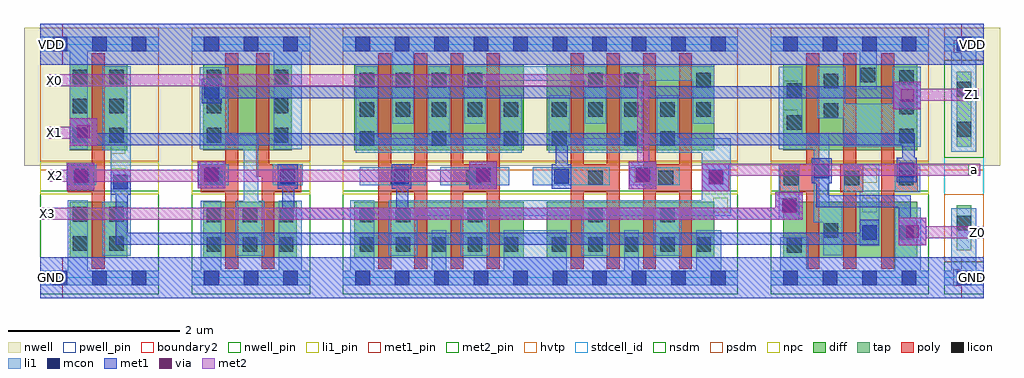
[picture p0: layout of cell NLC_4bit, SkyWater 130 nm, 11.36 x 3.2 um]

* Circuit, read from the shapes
.subckt NLC_4bit GND VDD X0 X1 X2 X3 Z0 Z1 a
XM1 sky130_fd_sc_hd__a21oi_1_1/A1 X2 GND GND sky130_fd_pr__nfet_01v8 w=0.65 l=0.15
XM2 Z1 X2 GND GND sky130_fd_pr__nfet_01v8 w=0.65 l=0.15
XM3 GND X3 Z1 GND sky130_fd_pr__nfet_01v8 w=0.65 l=0.15
XM4 a X3 GND GND sky130_fd_pr__nfet_01v8 w=0.65 l=0.15 m=2
XM5 a X2 GND GND sky130_fd_pr__nfet_01v8 w=0.65 l=0.15 m=2
XM6 a X1 GND GND sky130_fd_pr__nfet_01v8 w=0.65 l=0.15 m=2
XM7 a X0 GND GND sky130_fd_pr__nfet_01v8 w=0.65 l=0.15 m=2
XM8 Z0 X3 GND GND sky130_fd_pr__nfet_01v8 w=0.65 l=0.15
XM9 n1 sky130_fd_sc_hd__a21oi_1_1/A1 Z0 GND sky130_fd_pr__nfet_01v8 w=0.65 l=0.15
XM10 GND X1 n1 GND sky130_fd_pr__nfet_01v8 w=0.65 l=0.15
XM11 sky130_fd_sc_hd__a21oi_1_1/A1 X2 VDD VDD sky130_fd_pr__pfet_01v8_hvt w=1 l=0.15
XM12 n2 X2 Z1 VDD sky130_fd_pr__pfet_01v8_hvt w=1 l=0.15
XM13 VDD X3 n2 VDD sky130_fd_pr__pfet_01v8_hvt w=1 l=0.15
XM14 VDD X3 n3 VDD sky130_fd_pr__pfet_01v8_hvt w=1 l=0.15 m=2
XM15 n4 X2 n3 VDD sky130_fd_pr__pfet_01v8_hvt w=1 l=0.15 m=2
XM16 n4 X1 n5 VDD sky130_fd_pr__pfet_01v8_hvt w=1 l=0.15 m=2
XM17 a X0 n5 VDD sky130_fd_pr__pfet_01v8_hvt w=1 l=0.15 m=2
XM18 n6 X3 Z0 VDD sky130_fd_pr__pfet_01v8_hvt w=1 l=0.15
XM19 VDD sky130_fd_sc_hd__a21oi_1_1/A1 n6 VDD sky130_fd_pr__pfet_01v8_hvt w=1 l=0.15
XM20 n6 X1 VDD VDD sky130_fd_pr__pfet_01v8_hvt w=1 l=0.15
.ends

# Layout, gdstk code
import gdstk
lib = gdstk.Library(unit=1e-6, precision=1e-09)
def R(c, l, rs):  # rectangles x0, y0, x1, y1
    for r in rs: c.add(gdstk.rectangle(r[:2], r[2:], *l))
def A(c, l, x, y, w, h, nx, ny, dx, dy):  # array of equal rectangles
    R(c, l, [(x+i*dx, y+j*dy, x+i*dx+w, y+j*dy+h) for i in range(nx) for j in range(ny)])
def P(c, l, *ps):  # polygons
    for p in ps: c.add(gdstk.Polygon(p, *l))
nwell_pin = (64, 16)
nwell = (64, 20)
diff = (65, 20)
tap = (65, 44)
poly = (66, 20)
licon = (66, 44)
li1_pin = (67, 16)
li1 = (67, 20)
mcon = (67, 44)
met1_pin = (68, 16)
met1 = (68, 20)
via = (68, 44)
met2_pin = (69, 16)
met2 = (69, 20)
hvtp = (78, 44)
stdcell_id = (81, 4)
nsdm = (93, 44)
psdm = (94, 20)
npc = (95, 20)
pwell_pin = (122, 16)
boundary2 = (236, 0)

sky130_fd_sc_hd__inv_1 = lib.new_cell('sky130_fd_sc_hd__inv_1')
R(sky130_fd_sc_hd__inv_1, nwell_pin, [(0.145,2.635,0.315,2.805), (0.145,2.635,0.315,2.805)])
R(sky130_fd_sc_hd__inv_1, nwell, [(-0.19,1.305,1.57,2.91)])
R(sky130_fd_sc_hd__inv_1, diff, [(0.34,0.235,1.01,0.885), (0.34,1.485,1.01,2.485)])
P(sky130_fd_sc_hd__inv_1, poly, [(0.75,2.615),(0.6,2.615),(0.6,1.325),(0.32,1.325),(0.32,0.995),(0.6,0.995),(0.6,0.105),(0.75,0.105)])
A(sky130_fd_sc_hd__inv_1, licon, 0.38, 1.575, 0.17, 0.17, 1, 3, 0, 0.34)
A(sky130_fd_sc_hd__inv_1, licon, 0.8, 1.575, 0.17, 0.17, 1, 3, 0, 0.34)
R(sky130_fd_sc_hd__inv_1, licon, [(0.38,0.315,0.55,0.485), (0.8,0.315,0.97,0.485), (0.38,0.655,0.55,0.825), (0.8,0.655,0.97,0.825), (0.4,1.075,0.57,1.245)])
R(sky130_fd_sc_hd__inv_1, li1_pin, [(0.36,1.105,0.53,1.275), (0.82,1.105,0.99,1.275), (0.82,1.445,0.99,1.615)])
R(sky130_fd_sc_hd__inv_1, li1, [(0,-0.085,1.38,0.085), (0.32,0.005,0.55,0.905), (0.32,1.075,0.65,1.315), (0.34,1.495,0.55,2.675), (0,2.635,1.38,2.805)])
P(sky130_fd_sc_hd__inv_1, li1, [(1.05,2.465),(0.72,2.465),(0.72,1.485),(0.82,1.485),(0.82,0.885),(0.72,0.885),(0.72,0.255),(1.05,0.255)])
A(sky130_fd_sc_hd__inv_1, mcon, 0.145, -0.085, 0.17, 0.17, 3, 2, 0.46, 2.72)
R(sky130_fd_sc_hd__inv_1, met1_pin, [(0.145,-0.085,0.315,0.085), (0.145,-0.085,0.315,0.085), (0.145,2.635,0.315,2.805), (0.145,2.635,0.315,2.805)])
R(sky130_fd_sc_hd__inv_1, hvtp, [(0,1.25,1.38,2.72)])
R(sky130_fd_sc_hd__inv_1, stdcell_id, [(0,0,1.38,2.72)])
R(sky130_fd_sc_hd__inv_1, nsdm, [(0,-0.19,1.38,1.015)])
R(sky130_fd_sc_hd__inv_1, psdm, [(0,1.355,1.38,2.91)])
R(sky130_fd_sc_hd__inv_1, npc, [(0,0.975,1.38,1.345)])
R(sky130_fd_sc_hd__inv_1, pwell_pin, [(0.145,-0.085,0.315,0.085), (0.145,-0.085,0.315,0.085)])
R(sky130_fd_sc_hd__inv_1, boundary2, [(0,0,1.38,2.72)])
sky130_fd_sc_hd__inv_1.add(gdstk.FlexPath([(0,2.72),(1.38,2.72)], 0.48, ends="flush", simple_path=True, layer=68, datatype=20))  # met1
sky130_fd_sc_hd__inv_1.add(gdstk.FlexPath([(0,0),(1.38,0)], 0.48, ends="flush", simple_path=True, layer=68, datatype=20))  # met1
sky130_fd_sc_hd__inv_1.add(gdstk.Label('Y', (0.905,1.53), layer=67, texttype=5))
sky130_fd_sc_hd__inv_1.add(gdstk.Label('Y', (0.905,1.19), layer=67, texttype=5))
sky130_fd_sc_hd__inv_1.add(gdstk.Label('A', (0.445,1.19), layer=67, texttype=5))
sky130_fd_sc_hd__inv_1.add(gdstk.Label('VPB', (0.23,2.72), layer=64, texttype=5))
sky130_fd_sc_hd__inv_1.add(gdstk.Label('VNB', (0.23,0), layer=64, texttype=59))
sky130_fd_sc_hd__inv_1.add(gdstk.Label('VGND', (0.23,0), layer=68, texttype=5))
sky130_fd_sc_hd__inv_1.add(gdstk.Label('VPWR', (0.23,2.72), layer=68, texttype=5))
sky130_fd_sc_hd__inv_1.add(gdstk.Label('inv_1', (0,0), layer=83, texttype=44))

sky130_fd_sc_hd__a21oi_1 = lib.new_cell('sky130_fd_sc_hd__a21oi_1')
R(sky130_fd_sc_hd__a21oi_1, nwell_pin, [(0.145,2.635,0.315,2.805)])
R(sky130_fd_sc_hd__a21oi_1, nwell, [(-0.19,1.305,2.03,2.91)])
R(sky130_fd_sc_hd__a21oi_1, diff, [(0.15,0.235,1.705,0.885), (0.15,1.485,1.705,2.485)])
P(sky130_fd_sc_hd__a21oi_1, poly, [(0.565,2.615),(0.415,2.615),(0.415,1.325),(0.105,1.325),(0.105,0.995),(0.415,0.995),(0.415,0.105),(0.565,0.105)],
  [(1.08,1.325),(0.995,1.325),(0.995,2.615),(0.845,2.615),(0.845,1.325),(0.81,1.325),(0.81,0.995),(0.845,0.995),(0.845,0.105),(0.995,0.105),(0.995,0.995),(1.08,0.995)],
  [(1.71,1.325),(1.44,1.325),(1.44,2.615),(1.29,2.615),(1.29,0.105),(1.44,0.105),(1.44,0.995),(1.71,0.995)])
A(sky130_fd_sc_hd__a21oi_1, licon, 1.495, 1.565, 0.17, 0.17, 1, 3, 0, 0.34)
R(sky130_fd_sc_hd__a21oi_1, licon, [(0.19,0.295,0.36,0.465), (1.495,0.445,1.665,0.615), (0.62,0.465,0.79,0.635), (0.155,1.075,0.325,1.245), (0.86,1.075,1.03,1.245), (1.49,1.075,1.66,1.245), (0.19,1.725,0.36,1.895), (0.62,1.865,0.79,2.035), (0.19,2.095,0.36,2.265), (0.62,2.205,0.79,2.375), (1.05,2.275,1.22,2.445)])
A(sky130_fd_sc_hd__a21oi_1, li1_pin, 1.065, 0.425, 0.17, 0.17, 1, 3, 0, 0.34)
R(sky130_fd_sc_hd__a21oi_1, li1_pin, [(0.145,0.765,0.315,0.935), (0.145,1.105,0.315,1.275), (1.525,1.105,1.695,1.275), (0.145,1.785,0.315,1.955), (0.145,2.125,0.315,2.295)])
R(sky130_fd_sc_hd__a21oi_1, li1, [(0.095,0.675,0.335,1.325), (1.445,0.995,1.74,1.325)])
P(sky130_fd_sc_hd__a21oi_1, li1, [(1.84,2.805),(0,2.805),(0,2.635),(1.04,2.635),(1.04,2.195),(1.235,2.195),(1.235,2.635),(1.84,2.635)],
  [(1.84,0.085),(1.745,0.085),(1.745,0.815),(1.445,0.815),(1.445,0.085),(0.44,0.085),(0.44,0.475),(0.11,0.475),(0.11,0.085),(0,0.085),(0,-0.085),(1.84,-0.085)],
  [(1.265,1.325),(0.85,1.325),(0.85,0.995),(1.035,0.995),(1.035,0.375),(1.265,0.375)],
  [(1.745,2.455),(1.415,2.455),(1.415,2.025),(0.87,2.025),(0.87,2.455),(0.54,2.455),(0.54,1.855),(0.85,1.855),(0.85,1.525),(1.745,1.525)],
  [(0.835,0.825),(0.68,0.825),(0.68,1.685),(0.37,1.685),(0.37,2.455),(0.095,2.455),(0.095,1.495),(0.505,1.495),(0.505,0.645),(0.61,0.645),(0.61,0.265),(0.835,0.265)])
A(sky130_fd_sc_hd__a21oi_1, mcon, 0.145, -0.085, 0.17, 0.17, 4, 2, 0.46, 2.72)
R(sky130_fd_sc_hd__a21oi_1, met1_pin, [(0.145,-0.085,0.315,0.085), (0.145,2.635,0.315,2.805)])
R(sky130_fd_sc_hd__a21oi_1, hvtp, [(0,1.25,1.84,2.72)])
R(sky130_fd_sc_hd__a21oi_1, stdcell_id, [(0,0,1.84,2.72)])
R(sky130_fd_sc_hd__a21oi_1, nsdm, [(0,-0.19,1.84,1.015)])
R(sky130_fd_sc_hd__a21oi_1, psdm, [(0,1.355,1.84,2.91)])
R(sky130_fd_sc_hd__a21oi_1, npc, [(0,0.975,1.84,1.345)])
R(sky130_fd_sc_hd__a21oi_1, pwell_pin, [(0.145,-0.085,0.315,0.085)])
R(sky130_fd_sc_hd__a21oi_1, boundary2, [(0,0,1.84,2.72)])
sky130_fd_sc_hd__a21oi_1.add(gdstk.FlexPath([(0,0),(1.84,0)], 0.48, ends="flush", simple_path=True, layer=68, datatype=20))  # met1
sky130_fd_sc_hd__a21oi_1.add(gdstk.FlexPath([(0,2.72),(1.84,2.72)], 0.48, ends="flush", simple_path=True, layer=68, datatype=20))  # met1
sky130_fd_sc_hd__a21oi_1.add(gdstk.Label('A1', (1.15,1.19), layer=67, texttype=5))
sky130_fd_sc_hd__a21oi_1.add(gdstk.Label('B1', (0.23,0.85), layer=67, texttype=5))
sky130_fd_sc_hd__a21oi_1.add(gdstk.Label('A1', (1.15,0.85), layer=67, texttype=5))
sky130_fd_sc_hd__a21oi_1.add(gdstk.Label('A1', (1.15,0.51), layer=67, texttype=5))
sky130_fd_sc_hd__a21oi_1.add(gdstk.Label('Y', (0.23,2.21), layer=67, texttype=5))
sky130_fd_sc_hd__a21oi_1.add(gdstk.Label('B1', (0.23,1.19), layer=67, texttype=5))
sky130_fd_sc_hd__a21oi_1.add(gdstk.Label('Y', (0.23,1.87), layer=67, texttype=5))
sky130_fd_sc_hd__a21oi_1.add(gdstk.Label('A2', (1.61,1.19), layer=67, texttype=5))
sky130_fd_sc_hd__a21oi_1.add(gdstk.Label('VPWR', (0.23,2.72), layer=68, texttype=5))
sky130_fd_sc_hd__a21oi_1.add(gdstk.Label('VGND', (0.23,0), layer=68, texttype=5))
sky130_fd_sc_hd__a21oi_1.add(gdstk.Label('VPB', (0.23,2.72), layer=64, texttype=5))
sky130_fd_sc_hd__a21oi_1.add(gdstk.Label('VNB', (0.23,0), layer=64, texttype=59))
sky130_fd_sc_hd__a21oi_1.add(gdstk.Label('a21oi_1', (0,0), layer=83, texttype=44))

sky130_fd_sc_hd__nor2_1 = lib.new_cell('sky130_fd_sc_hd__nor2_1')
R(sky130_fd_sc_hd__nor2_1, nwell_pin, [(0.15,2.635,0.32,2.805)])
R(sky130_fd_sc_hd__nor2_1, nwell, [(-0.19,1.305,1.57,2.91)])
R(sky130_fd_sc_hd__nor2_1, diff, [(0.135,0.235,1.225,0.885), (0.135,1.485,1.165,2.485)])
P(sky130_fd_sc_hd__nor2_1, poly, [(1.275,1.325),(0.905,1.325),(0.905,2.615),(0.755,2.615),(0.755,1.175),(0.815,1.175),(0.815,0.105),(0.965,0.105),(0.965,0.995),(1.275,0.995)],
  [(0.545,2.615),(0.395,2.615),(0.395,1.325),(0.11,1.325),(0.11,0.995),(0.395,0.995),(0.395,0.105),(0.545,0.105)])
A(sky130_fd_sc_hd__nor2_1, licon, 0.175, 0.305, 0.17, 0.17, 3, 2, 0.42, 0.34)
A(sky130_fd_sc_hd__nor2_1, licon, 0.175, 1.575, 0.17, 0.17, 1, 3, 0, 0.34)
A(sky130_fd_sc_hd__nor2_1, licon, 0.955, 1.575, 0.17, 0.17, 1, 3, 0, 0.34)
R(sky130_fd_sc_hd__nor2_1, licon, [(0.185,1.075,0.355,1.245), (1.025,1.075,1.195,1.245)])
R(sky130_fd_sc_hd__nor2_1, li1_pin, [(0.145,1.105,0.315,1.275), (1.065,1.105,1.235,1.275), (0.15,2.125,0.32,2.295)])
R(sky130_fd_sc_hd__nor2_1, li1, [(0.085,1.075,0.435,1.325), (0.945,1.075,1.295,1.325)])
P(sky130_fd_sc_hd__nor2_1, li1, [(1.38,0.085),(1.285,0.085),(1.285,0.895),(1.015,0.895),(1.015,0.085),(0.345,0.085),(0.345,0.895),(0.105,0.895),(0.105,0.085),(0,0.085),(0,-0.085),(1.38,-0.085)],
  [(1.38,2.805),(0,2.805),(0,2.635),(0.955,2.635),(0.955,1.495),(1.285,1.495),(1.285,2.635),(1.38,2.635)],
  [(0.845,0.895),(0.775,0.895),(0.775,1.665),(0.425,1.665),(0.425,2.45),(0.095,2.45),(0.095,1.495),(0.605,1.495),(0.605,0.895),(0.515,0.895),(0.515,0.255),(0.845,0.255)])
A(sky130_fd_sc_hd__nor2_1, mcon, 0.145, -0.085, 0.17, 0.17, 3, 2, 0.46, 2.72)
R(sky130_fd_sc_hd__nor2_1, met1_pin, [(0.15,-0.085,0.32,0.085), (0.15,2.635,0.32,2.805)])
R(sky130_fd_sc_hd__nor2_1, hvtp, [(0,1.25,1.38,2.72)])
R(sky130_fd_sc_hd__nor2_1, stdcell_id, [(0,0,1.38,2.72)])
R(sky130_fd_sc_hd__nor2_1, nsdm, [(0,-0.19,1.38,1.015)])
R(sky130_fd_sc_hd__nor2_1, psdm, [(0,1.355,1.38,2.91)])
R(sky130_fd_sc_hd__nor2_1, npc, [(0,0.975,1.38,1.345)])
R(sky130_fd_sc_hd__nor2_1, pwell_pin, [(0.15,-0.085,0.32,0.085)])
R(sky130_fd_sc_hd__nor2_1, boundary2, [(0,0,1.38,2.72)])
sky130_fd_sc_hd__nor2_1.add(gdstk.FlexPath([(0,2.72),(1.38,2.72)], 0.48, ends="flush", simple_path=True, layer=68, datatype=20))  # met1
sky130_fd_sc_hd__nor2_1.add(gdstk.FlexPath([(0,0),(1.38,0)], 0.48, ends="flush", simple_path=True, layer=68, datatype=20))  # met1
sky130_fd_sc_hd__nor2_1.add(gdstk.Label('B', (0.23,1.19), layer=67, texttype=5))
sky130_fd_sc_hd__nor2_1.add(gdstk.Label('Y', (0.235,2.21), layer=67, texttype=5))
sky130_fd_sc_hd__nor2_1.add(gdstk.Label('A', (1.15,1.19), layer=67, texttype=5))
sky130_fd_sc_hd__nor2_1.add(gdstk.Label('VPB', (0.235,2.72), layer=64, texttype=5))
sky130_fd_sc_hd__nor2_1.add(gdstk.Label('VNB', (0.235,0), layer=64, texttype=59))
sky130_fd_sc_hd__nor2_1.add(gdstk.Label('VGND', (0.23,0), layer=68, texttype=5))
sky130_fd_sc_hd__nor2_1.add(gdstk.Label('VPWR', (0.23,2.72), layer=68, texttype=5))
sky130_fd_sc_hd__nor2_1.add(gdstk.Label('nor2_1', (0,0), layer=83, texttype=44))

sky130_fd_sc_hd__nor4_2 = lib.new_cell('sky130_fd_sc_hd__nor4_2')
R(sky130_fd_sc_hd__nor4_2, nwell_pin, [(0.15,2.635,0.32,2.805)])
R(sky130_fd_sc_hd__nor4_2, nwell, [(-0.19,1.305,4.79,2.91)])
R(sky130_fd_sc_hd__nor4_2, diff, [(0.135,0.235,2.105,0.885), (2.375,0.235,4.325,0.885), (0.135,1.485,2.105,2.485), (2.375,1.485,4.325,2.485)])
P(sky130_fd_sc_hd__nor4_2, poly, [(3.225,2.615),(3.075,2.615),(3.075,1.325),(2.805,1.325),(2.805,2.615),(2.655,2.615),(2.655,0.105),(2.805,0.105),(2.805,0.995),(3.075,0.995),(3.075,0.105),(3.225,0.105)],
  [(1.825,2.615),(1.675,2.615),(1.675,1.325),(1.405,1.325),(1.405,2.615),(1.255,2.615),(1.255,0.105),(1.405,0.105),(1.405,0.995),(1.675,0.995),(1.675,0.105),(1.825,0.105)],
  [(4.065,2.615),(3.915,2.615),(3.915,1.325),(3.645,1.325),(3.645,2.615),(3.495,2.615),(3.495,0.105),(3.645,0.105),(3.645,0.995),(3.915,0.995),(3.915,0.105),(4.065,0.105)],
  [(0.985,2.615),(0.835,2.615),(0.835,1.325),(0.565,1.325),(0.565,2.615),(0.415,2.615),(0.415,0.105),(0.565,0.105),(0.565,0.995),(0.835,0.995),(0.835,0.105),(0.985,0.105)])
A(sky130_fd_sc_hd__nor4_2, licon, 0.195, 0.305, 0.17, 0.17, 5, 2, 0.42, 1.57)
A(sky130_fd_sc_hd__nor4_2, licon, 2.435, 0.305, 0.17, 0.17, 5, 2, 0.42, 1.57)
A(sky130_fd_sc_hd__nor4_2, licon, 0.195, 1.535, 0.17, 0.17, 3, 1, 0.84, 0)
A(sky130_fd_sc_hd__nor4_2, licon, 0.195, 2.215, 0.17, 0.17, 4, 1, 0.42, 0)
R(sky130_fd_sc_hd__nor4_2, licon, [(0.195,0.645,0.365,0.815), (0.615,0.645,0.785,0.815), (1.455,0.645,1.625,0.815), (2.855,0.645,3.025,0.815), (3.695,0.645,3.865,0.815), (0.56,1.075,0.73,1.245), (1.44,1.075,1.61,1.245), (2.855,1.075,3.025,1.245), (3.675,1.075,3.845,1.245), (2.435,1.535,2.605,1.705), (3.275,1.535,3.445,1.705), (3.695,1.535,3.865,1.705), (2.855,2.215,3.025,2.385), (3.275,2.215,3.445,2.385), (4.115,2.215,4.285,2.385)])
R(sky130_fd_sc_hd__nor4_2, li1_pin, [(4.31,0.765,4.48,0.935), (0.61,1.105,0.78,1.275), (1.53,1.105,1.7,1.275), (2.47,1.105,2.64,1.275), (3.39,1.105,3.56,1.275)])
R(sky130_fd_sc_hd__nor4_2, li1, [(0.2,1.075,0.965,1.285), (1.135,1.075,1.94,1.285), (2.21,1.075,3.105,1.285), (3.34,1.075,3.925,1.285)])
P(sky130_fd_sc_hd__nor4_2, li1, [(4.6,0.085),(4.405,0.085),(4.405,0.555),(4.115,0.555),(4.115,0.085),(3.445,0.085),(3.445,0.555),(3.275,0.555),(3.275,0.085),(2.605,0.085),(2.605,0.555),(1.875,0.555),(1.875,0.085),(1.205,0.085),(1.205,0.555),(1.035,0.555),(1.035,0.085),(0.365,0.085),(0.365,0.905),(0.09,0.905),(0.09,0.085),(0,0.085),(0,-0.085),(4.6,-0.085)],
  [(4.6,2.805),(0,2.805),(0,2.635),(0.575,2.635),(0.575,1.795),(0.825,1.795),(0.825,2.635),(4.6,2.635)],
  [(2.085,2.125),(1.835,2.125),(1.835,1.625),(1.245,1.625),(1.245,2.465),(0.995,2.465),(0.995,1.625),(0.405,1.625),(0.405,2.465),(0.15,2.465),(0.15,1.455),(2.085,1.455)],
  [(3.065,2.465),(1.415,2.465),(1.415,1.795),(1.665,1.795),(1.665,2.295),(2.815,2.295),(2.815,1.795),(3.065,1.795)],
  [(4.325,2.465),(3.235,2.465),(3.235,1.625),(2.645,1.625),(2.645,2.125),(2.395,2.125),(2.395,1.455),(3.485,1.455),(3.485,2.295),(4.075,2.295),(4.075,1.795),(4.325,1.795)],
  [(4.515,1.625),(3.905,1.625),(3.905,2.125),(3.655,2.125),(3.655,1.455),(4.18,1.455),(4.18,0.905),(0.535,0.905),(0.535,0.255),(0.865,0.255),(0.865,0.725),(1.375,0.725),(1.375,0.255),(1.705,0.255),(1.705,0.725),(2.775,0.725),(2.775,0.255),(3.105,0.255),(3.105,0.725),(3.615,0.725),(3.615,0.255),(3.945,0.255),(3.945,0.725),(4.515,0.725)])
A(sky130_fd_sc_hd__nor4_2, mcon, 0.145, -0.085, 0.17, 0.17, 10, 2, 0.46, 2.72)
R(sky130_fd_sc_hd__nor4_2, met1_pin, [(0.15,-0.085,0.32,0.085), (0.15,2.635,0.32,2.805)])
R(sky130_fd_sc_hd__nor4_2, hvtp, [(0,1.25,4.6,2.72)])
R(sky130_fd_sc_hd__nor4_2, stdcell_id, [(0,0,4.6,2.72)])
R(sky130_fd_sc_hd__nor4_2, nsdm, [(0,-0.19,4.6,1.015)])
R(sky130_fd_sc_hd__nor4_2, psdm, [(0,1.355,4.6,2.91)])
R(sky130_fd_sc_hd__nor4_2, npc, [(0,0.975,4.6,1.345)])
R(sky130_fd_sc_hd__nor4_2, pwell_pin, [(0.15,-0.085,0.32,0.085)])
R(sky130_fd_sc_hd__nor4_2, boundary2, [(0,0,4.6,2.72)])
sky130_fd_sc_hd__nor4_2.add(gdstk.FlexPath([(0,2.72),(4.6,2.72)], 0.48, ends="flush", simple_path=True, layer=68, datatype=20))  # met1
sky130_fd_sc_hd__nor4_2.add(gdstk.FlexPath([(0,0),(4.6,0)], 0.48, ends="flush", simple_path=True, layer=68, datatype=20))  # met1
sky130_fd_sc_hd__nor4_2.add(gdstk.Label('C', (2.555,1.19), layer=67, texttype=5))
sky130_fd_sc_hd__nor4_2.add(gdstk.Label('D', (3.475,1.19), layer=67, texttype=5))
sky130_fd_sc_hd__nor4_2.add(gdstk.Label('Y', (4.395,0.85), layer=67, texttype=5))
sky130_fd_sc_hd__nor4_2.add(gdstk.Label('A', (0.695,1.19), layer=67, texttype=5))
sky130_fd_sc_hd__nor4_2.add(gdstk.Label('B', (1.615,1.19), layer=67, texttype=5))
sky130_fd_sc_hd__nor4_2.add(gdstk.Label('VNB', (0.235,0), layer=64, texttype=59))
sky130_fd_sc_hd__nor4_2.add(gdstk.Label('VPB', (0.235,2.72), layer=64, texttype=5))
sky130_fd_sc_hd__nor4_2.add(gdstk.Label('VGND', (0.23,0), layer=68, texttype=5))
sky130_fd_sc_hd__nor4_2.add(gdstk.Label('VPWR', (0.23,2.72), layer=68, texttype=5))
sky130_fd_sc_hd__nor4_2.add(gdstk.Label('nor4_2', (0,0), layer=83, texttype=44))

sky130_fd_sc_hd__tapvpwr = lib.new_cell('sky130_fd_sc_hd__tapvpwrvgnd_1')
R(sky130_fd_sc_hd__tapvpwr, nwell, [(-0.19,1.305,0.65,2.91)])
R(sky130_fd_sc_hd__tapvpwr, tap, [(0.145,0.32,0.315,0.845), (0.145,1.525,0.315,2.4)])
R(sky130_fd_sc_hd__tapvpwr, licon, [(0.145,0.555,0.315,0.725), (0.145,1.645,0.315,1.815), (0.145,2.11,0.315,2.28)])
R(sky130_fd_sc_hd__tapvpwr, li1, [(0,-0.085,0.46,0.085), (0.085,0,0.375,0.81), (0.085,1.47,0.375,2.72), (0,2.635,0.46,2.805)])
R(sky130_fd_sc_hd__tapvpwr, mcon, [(0.145,-0.085,0.315,0.085), (0.145,2.635,0.315,2.805)])
R(sky130_fd_sc_hd__tapvpwr, met1_pin, [(0.105,-0.09,0.36,0.1), (0.11,2.62,0.375,2.765)])
R(sky130_fd_sc_hd__tapvpwr, met1, [(0,-0.24,0.46,0.24), (0,2.48,0.46,2.96)])
R(sky130_fd_sc_hd__tapvpwr, hvtp, [(0,1.25,0.46,2.72)])
R(sky130_fd_sc_hd__tapvpwr, stdcell_id, [(0,0,0.46,2.72)])
R(sky130_fd_sc_hd__tapvpwr, nsdm, [(0,-0.19,0.46,0.19), (0,1.395,0.46,2.53)])
R(sky130_fd_sc_hd__tapvpwr, psdm, [(0,0.19,0.46,0.975), (0,2.53,0.46,2.91)])
sky130_fd_sc_hd__tapvpwr.add(gdstk.Label('VPWR', (0.23,2.72), layer=68, texttype=5))
sky130_fd_sc_hd__tapvpwr.add(gdstk.Label('VGND', (0.23,0), layer=68, texttype=5))
sky130_fd_sc_hd__tapvpwr.add(gdstk.Label('tapvpwrvgnd_1', (0,0), layer=83, texttype=44))

nlc_4bit = lib.new_cell('NLC_4bit')
R(nlc_4bit, li1, [(9.755,0.685,9.925,0.855), (8.825,0.995,8.995,1.165), (1.04,1.27,1.21,1.44), (7.97,1.33,8.14,1.5), (2.985,1.335,3.155,1.505), (4.31,1.335,4.48,1.505), (6.17,1.335,6.34,1.505), (0.58,1.34,0.75,1.51), (5.26,1.35,5.43,1.52), (7.12,1.35,7.29,1.52), (2.1,1.36,2.27,1.53), (9.2,1.4,9.37,1.57), (10.19,1.41,10.36,1.58), (2.1,2.33,2.27,2.5)])
R(nlc_4bit, mcon, [(9.755,0.685,9.925,0.855), (8.825,0.995,8.995,1.165), (1.04,1.27,1.21,1.44), (7.97,1.33,8.14,1.5), (2.985,1.335,3.155,1.505), (4.31,1.335,4.48,1.505), (6.17,1.335,6.34,1.505), (0.58,1.34,0.75,1.51), (5.26,1.35,5.43,1.52), (7.12,1.35,7.29,1.52), (2.1,1.36,2.27,1.53), (9.2,1.4,9.37,1.57), (10.19,1.41,10.36,1.58), (2.1,2.33,2.27,2.5)])
R(nlc_4bit, met1_pin, [(0.19,0,0.45,0.48), (10.91,0,11.17,0.48), (0.19,2.72,0.45,3.2), (10.91,2.72,11.17,3.2)])
R(nlc_4bit, met1, [(0.19,0,11.17,0.48), (10.18,0.62,10.5,0.94), (1.065,0.625,9.955,0.765), (1.065,0.765,1.205,1.21), (9.725,0.765,9.955,0.915), (3,0.915,9.065,1.055), (10.18,0.94,10.32,1.06), (3.005,1.055,3.145,1.275), (4.33,1.055,4.47,1.275), (8.745,1.055,9.065,1.235), (9.22,1.06,10.32,1.2), (9.22,1.2,9.36,1.34), (1.01,1.21,1.24,1.5), (7.89,1.25,8.21,1.57), (0.5,1.26,0.82,1.58), (5.18,1.27,5.5,1.59), (7.04,1.27,7.36,1.59), (2.955,1.275,3.185,1.565), (4.28,1.275,4.51,1.565), (6.14,1.275,6.37,1.565), (2.02,1.28,2.34,1.6), (9.17,1.34,9.4,1.63), (10.16,1.35,10.39,1.64), (6.19,1.565,6.33,1.785), (10.225,1.64,10.365,1.785), (0.53,1.78,0.85,1.785), (0.53,1.785,10.365,1.925), (0.53,1.925,0.85,2.1), (10.12,2.2,10.44,2.33), (2.07,2.27,2.3,2.33), (2.07,2.33,10.44,2.47), (2.07,2.47,2.3,2.56), (10.12,2.47,10.44,2.52), (0.19,2.72,11.17,3.2)])
R(nlc_4bit, via, [(10.265,0.705,10.415,0.855), (8.83,1,8.98,1.15), (7.975,1.335,8.125,1.485), (0.585,1.345,0.735,1.495), (5.265,1.355,5.415,1.505), (7.125,1.355,7.275,1.505), (2.105,1.365,2.255,1.515), (0.615,1.865,0.765,2.015), (10.205,2.285,10.355,2.435)])
R(nlc_4bit, met2_pin, [(11.03,0.7,11.17,0.84), (0.2,0.915,0.34,1.055), (0.3,1.36,0.44,1.5), (10.99,1.43,11.13,1.57), (0.28,1.86,0.42,2), (10.97,2.3,11.11,2.44), (0.29,2.47,0.43,2.61)])
R(nlc_4bit, met2, [(10.18,0.62,10.5,0.7), (10.18,0.7,11.17,0.84), (10.18,0.84,10.5,0.94), (0.2,0.915,9.065,1.055), (8.745,1.055,9.065,1.235), (7.89,1.25,8.21,1.43), (0.5,1.26,0.82,1.36), (5.18,1.27,5.5,1.36), (7.04,1.27,7.36,1.59), (2.02,1.28,2.34,1.36), (0.3,1.36,5.5,1.5), (7.89,1.43,11.13,1.57), (0.5,1.5,0.82,1.58), (2.02,1.5,2.34,1.6), (5.18,1.5,5.5,1.59), (7.14,1.59,7.28,2.47), (0.53,1.78,0.85,1.86), (0.28,1.86,0.85,2), (0.53,2,0.85,2.1), (10.12,2.2,10.44,2.3), (10.12,2.3,11.11,2.44), (10.12,2.44,10.44,2.52), (0.29,2.47,7.28,2.61)])
nlc_4bit.add(gdstk.Reference(sky130_fd_sc_hd__inv_1, (0.19,0.24)))
nlc_4bit.add(gdstk.Reference(sky130_fd_sc_hd__a21oi_1, (8.69,0.24)))
nlc_4bit.add(gdstk.Reference(sky130_fd_sc_hd__nor2_1, (1.95,0.24)))
nlc_4bit.add(gdstk.Reference(sky130_fd_sc_hd__nor4_2, (3.71,0.24)))
nlc_4bit.add(gdstk.Reference(sky130_fd_sc_hd__tapvpwr, (10.71,0.24)))
nlc_4bit.add(gdstk.Label('GND', (11.04,0.24), layer=68, texttype=5))
nlc_4bit.add(gdstk.Label('GND', (0.32,0.24), layer=68, texttype=5))
nlc_4bit.add(gdstk.Label('VDD', (0.32,2.96), layer=68, texttype=5))
nlc_4bit.add(gdstk.Label('VDD', (11.04,2.96), layer=68, texttype=5))
nlc_4bit.add(gdstk.Label('X0', (0.36,2.54), layer=69, texttype=5))
nlc_4bit.add(gdstk.Label('X1', (0.35,1.93), layer=69, texttype=5))
nlc_4bit.add(gdstk.Label('X2', (0.37,1.43), layer=69, texttype=5))
nlc_4bit.add(gdstk.Label('X3', (0.27,0.985), layer=69, texttype=5))
nlc_4bit.add(gdstk.Label('Z1', (11.04,2.37), layer=69, texttype=5))
nlc_4bit.add(gdstk.Label('a', (11.06,1.5), layer=69, texttype=5))
nlc_4bit.add(gdstk.Label('Z0', (11.1,0.77), layer=69, texttype=5))

lib.write_gds('NLC_4bit.gds')
